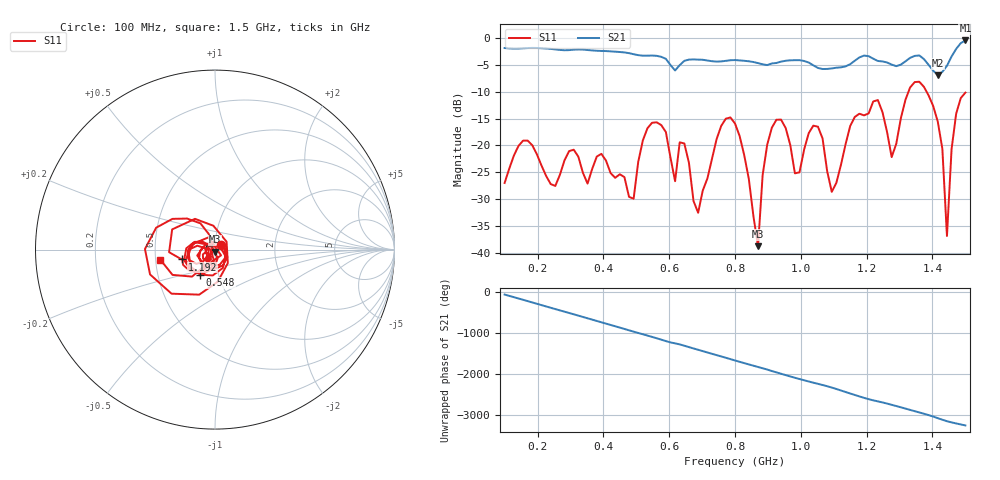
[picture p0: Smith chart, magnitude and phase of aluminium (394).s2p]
! NanoVNA-App
! Date: 2025-09-25 14:58:21
! Start: 100MHz Stop: 1,5GHz Points: 101
! S-Parameter data: F S11 S21 S12 S22
# Hz S RI R 50
!  Frequency  S11_Real  S11_Imag  S21_Real  S21_Imag  S12_Real  S12_Imag  S22_Real  S22_Imag
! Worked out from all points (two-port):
!   101 points, 100 MHz to 1.5 GHz, reference 50 ohm
!   highest |S21| = -0.51 dB at 1.5 GHz (marker M1); lowest = -6.9 dB at 1.416 GHz (marker M2)
!   |S21| within 3 dB of the highest: start of sweep to 573.2 MHz; 1.458 GHz to end of sweep (the widest 2 of 4)
!   lowest |S11| = -38.7 dB at 870 MHz (marker M3), VSWR 1.02, Z = 50.2 - j1.15 ohm
!   |S11| at or under -10 dB: start of sweep to 1.327 GHz; 1.382 GHz to end of sweep
!   S12 and S22 are empty: the file has one direction only
!   S11 on the Smith chart (normalised r, x): 100 MHz: 1.07, +0.06; 548 MHz: 0.82, -0.24; 1.192 GHz: 0.69, -0.08; 1.5 GHz: 0.53, -0.07
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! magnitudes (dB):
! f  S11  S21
! 100 MHz  -27.0  -1.9
! 156 MHz  -19.1  -2.0
! 338 MHz  -25.1  -2.2
! 492 MHz  -29.9  -3.1
! 548 MHz  -15.8  -3.3
! 576 MHz  -16.2  -3.5
! 618 MHz  -26.6  -6.1
! 646 MHz  -19.6  -4.3
! 688 MHz  -32.5  -4.1
! 800 MHz  -15.9  -4.1
! 870 MHz  -38.7  -4.7
! 912 MHz  -16.7  -4.8
! 982 MHz  -25.2  -4.2
! 1.038 GHz  -16.3  -5.1
! 1.094 GHz  -28.6  -5.7
! 1.192 GHz  -14.4  -3.3
! 1.276 GHz  -22.2  -5.0
! 1.346 GHz  -8.2  -3.4
! 1.416 GHz  -15.5  -6.9
! 1.444 GHz  -36.8  -5.2
! 1.458 GHz  -20.7  -3.5
! 1.5 GHz  -10.2  -0.5
